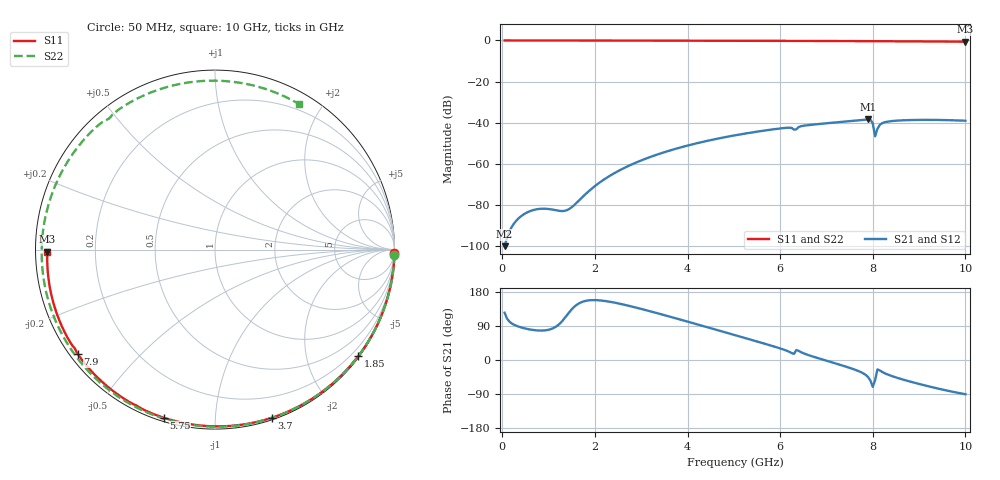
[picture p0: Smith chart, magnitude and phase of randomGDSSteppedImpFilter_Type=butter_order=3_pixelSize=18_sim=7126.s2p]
! freq	dB(S11)	phase(S11)	dB(S12)	phase(S12)
!  dB(S21)	phase(S21)	dB(S22)	phase(S22)
!S-par simulation data
#  GHz  S  DB  R 50
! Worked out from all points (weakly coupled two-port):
!   200 points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, 50 MHz to 10 GHz, reference 50 ohm
!   highest |S21| = -38.42 dB at 7.9 GHz (marker M1); lowest = -100.0 dB at 50 MHz (marker M2)
!   lowest |S11| = -0.6 dB at 10 GHz (marker M3), VSWR 29.42, Z = 1.7 - j0.307 ohm
!   |S11| at or under -10 dB: nowhere
!   |S22| runs from -0.6 to 0.0 dB; largest |S21 - S12| = 0
!   S11 on the Smith chart (normalised r, x): 50 MHz: open; 1.85 GHz: 0.03, -3.01; 3.7 GHz: 0.02, -1.39; 5.75 GHz: 0.02, -0.74; 7.9 GHz: 0.02, -0.34; 10 GHz: 0.03, -0.01
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0.05  -0.00 -1.0  -100.05 124.8  -100.05 124.8  -0.00 -1.6
0.75  -0.02 -15.1  -82.08 78.1  -82.08 78.1  -0.02 -23.7
1.55  -0.04 -30.9  -80.12 139.9  -80.12 139.9  -0.06 -48.2
1.75  -0.04 -34.8  -75.74 154.4  -75.74 154.4  -0.07 -54.2
1.85  -0.05 -36.7  -73.65 157.1  -73.65 157.1  -0.07 -57.1
2.5  -0.06 -49.2  -63.55 149.5  -63.55 149.5  -0.10 -76.1
3.4  -0.09 -65.9  -55.07 121.7  -55.07 121.7  -0.13 -101.3
3.7  -0.10 -71.4  -52.97 111.6  -52.97 111.6  -0.14 -109.5
5.05  -0.15 -95.1  -46.03 64.8  -46.03 64.8  -0.21 -145.5
5.75  -0.18 -107.0  -43.54 40.0  -43.54 40.0  -0.26 -164.2
6.2  -0.21 -114.5  -42.41 21.4  -42.41 21.4  -0.30 -176.4
6.3  -0.23 -116.2  -43.41 16.3  -43.41 16.3  -0.31 -179.2
6.7  -0.24 -122.7  -40.95 9.4  -40.95 9.4  -0.33 169.6
7.3  -0.29 -132.7  -39.67 -12.9  -39.67 -12.9  -0.38 152.0
7.9  -0.35 -142.7  -38.42 -45.2  -38.42 -45.2  -0.44 133.2
7.95  -0.36 -143.6  -38.57 -54.5  -38.57 -54.5  -0.47 131.5
8  -0.38 -144.4  -40.35 -70.8  -40.35 -70.8  -0.52 129.9
8.05  -0.39 -145.0  -46.60 -53.3  -46.60 -53.3  -0.55 128.8
8.15  -0.37 -146.7  -41.09 -27.4  -41.09 -27.4  -0.48 125.7
8.35  -0.39 -150.1  -39.37 -39.6  -39.37 -39.6  -0.48 118.9
9.2  -0.48 -164.8  -38.62 -69.4  -38.62 -69.4  -0.53 89.3
10  -0.59 -179.3  -39.04 -90.4  -39.04 -90.4  -0.57 59.9
